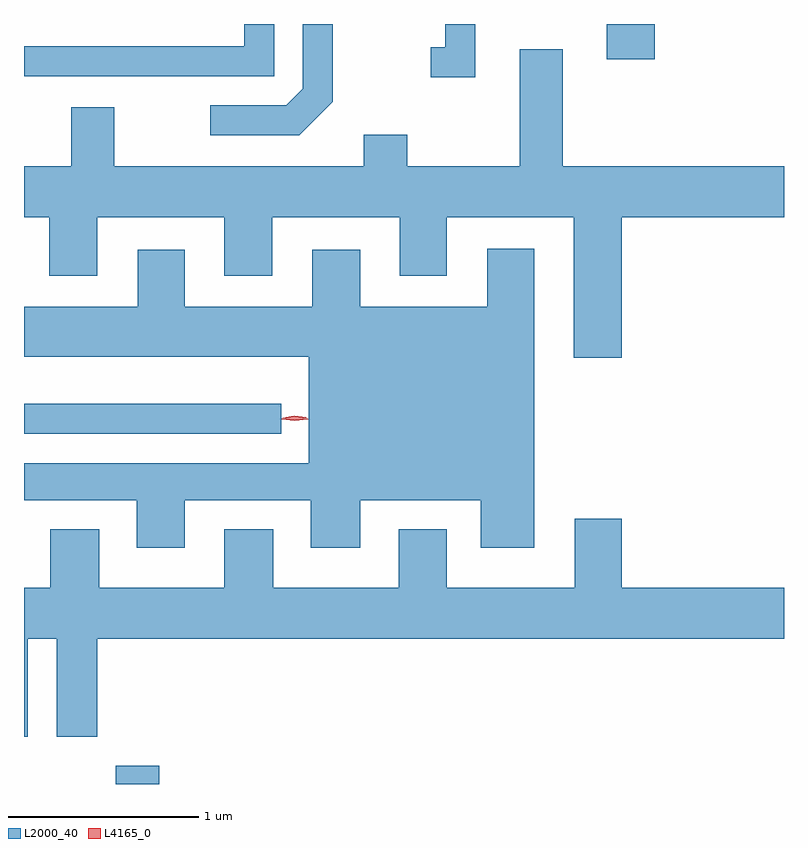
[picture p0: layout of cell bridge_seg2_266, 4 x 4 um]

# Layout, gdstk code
import gdstk
lib = gdstk.Library(unit=1e-6, precision=1e-09)
def R(c, l, rs):  # rectangles x0, y0, x1, y1
    for r in rs: c.add(gdstk.rectangle(r[:2], r[2:], *l))
def P(c, l, *ps):  # polygons
    for p in ps: c.add(gdstk.Polygon(p, *l))
L2000_40 = (2000, 40)
L4165_0 = (4165, 0)

bridge_seg2_266 = lib.new_cell('bridge_seg2_266')
R(bridge_seg2_266, L2000_40, [(640.006,1045.332,640.234,1045.429), (639.523,1047.176,640.878,1047.334), (642.591,1049.146,642.844,1049.332)])
P(bridge_seg2_266, L2000_40, [(641.899,1049.332),(641.741,1049.332),(641.741,1049.209),(641.663,1049.209),(641.663,1049.051),(641.899,1049.051)],
  [(641.149,1048.924),(641.149,1049.332),(640.991,1049.332),(640.991,1048.992),(640.904,1048.904),(640.503,1048.904),(640.503,1048.746),(640.972,1048.746)],
  [(640.839,1049.332),(640.681,1049.332),(640.681,1049.214),(639.523,1049.214),(639.523,1049.056),(640.839,1049.056)],
  [(642.669,1048.316),(643.523,1048.316),(643.523,1048.584),(642.359,1048.584),(642.359,1049.199),(642.131,1049.199),(642.131,1048.584),(641.539,1048.584),(641.539,1048.749),(641.311,1048.749),(641.311,1048.584),(639.999,1048.584),(639.999,1048.894),(639.771,1048.894),(639.771,1048.584),(639.523,1048.584),(639.523,1048.316),(639.656,1048.316),(639.656,1048.006),(639.909,1048.006),(639.909,1048.316),(640.576,1048.316),(640.576,1048.006),(640.829,1048.006),(640.829,1048.316),(641.501,1048.316),(641.501,1048.006),(641.749,1048.006),(641.749,1048.316),(642.416,1048.316),(642.416,1047.576),(642.669,1047.576)],
  [(640.369,1046.826),(641.031,1046.826),(641.031,1046.576),(641.294,1046.576),(641.294,1046.826),(641.926,1046.826),(641.926,1046.576),(642.209,1046.576),(642.209,1048.149),(641.961,1048.149),(641.961,1047.844),(641.294,1047.844),(641.294,1048.144),(641.041,1048.144),(641.041,1047.844),(640.369,1047.844),(640.369,1048.144),(640.121,1048.144),(640.121,1047.844),(639.523,1047.844),(639.523,1047.581),(641.021,1047.581),(641.021,1047.019),(639.523,1047.019),(639.523,1046.826),(640.116,1046.826),(640.116,1046.576),(640.369,1046.576)],
  [(639.544,1046.096),(639.696,1046.096),(639.696,1045.581),(639.909,1045.581),(639.909,1046.096),(643.523,1046.096),(643.523,1046.364),(642.669,1046.364),(642.669,1046.729),(642.421,1046.729),(642.421,1046.364),(641.749,1046.364),(641.749,1046.674),(641.496,1046.674),(641.496,1046.364),(640.834,1046.364),(640.834,1046.674),(640.576,1046.674),(640.576,1046.364),(639.919,1046.364),(639.919,1046.674),(639.661,1046.674),(639.661,1046.364),(639.523,1046.364),(639.523,1045.581),(639.544,1045.581)])
P(bridge_seg2_266, L4165_0, [(640.949,1047.243),(640.88,1047.253),(640.879,1047.253),(640.88,1047.254),(640.949,1047.263),(641.017,1047.254),(641.018,1047.253),(641.017,1047.253)],
  [(640.946,1047.25),(640.884,1047.259),(640.883,1047.26),(640.884,1047.26),(640.946,1047.27),(641.008,1047.261),(641.008,1047.26),(641.008,1047.26)])

lib.write_gds('bridge_seg2_266.gds')
